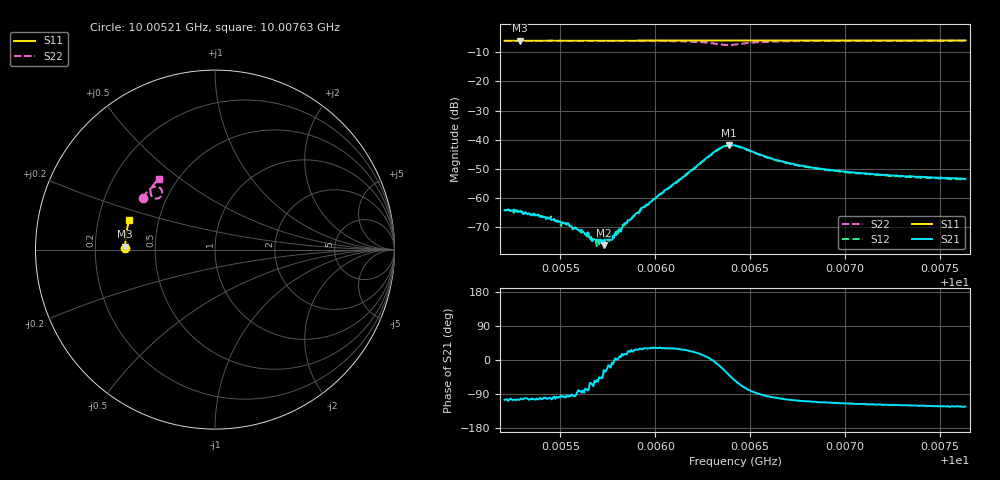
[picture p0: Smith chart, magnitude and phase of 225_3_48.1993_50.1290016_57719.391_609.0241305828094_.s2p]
#  HZ  S  RI  R  50.00
! Rohde & Schwarz Vector Network Analyzer
! Rohde-Schwarz,ZNB20-2Port,1311601062101988,3.16
! Created: UTC 3/20/2024, 11:46:07 AM
! freq[Hz]  re:S11  im:S11  re:S21  im:S21  re:S12  im:S12  re:S22  im:S22
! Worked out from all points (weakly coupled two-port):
!   401 points, 10.00521 GHz to 10.00763 GHz, reference 50 ohm
!   highest |S21| = -41.85 dB at 10.00639 GHz (marker M1); lowest = -76.2 dB at 10.00573 GHz (marker M2)
!   lowest |S11| = -6.0 dB at 10.00528 GHz (marker M3), VSWR 3.00, Z = 16.7 + j0.712 ohm
!   |S11| at or under -10 dB: nowhere
!   |S22| runs from -7.5 to -6.0 dB; largest |S21 - S12| = 0.00046
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1.0005206e10  -0.5001 0.0109  -0.000159 -0.000592  -0.000138 -0.000587  -0.4016 0.2901
1.0005284e10  -0.4999 0.016  -0.000152 -0.000556  -0.0001 -0.000555  -0.3987 0.2946
1.0005454e10  -0.4998 0.0271  -0.000101 -0.000407  -4.28e-05 -0.000416  -0.3916 0.3048
1.0005527e10  -0.4998 0.0319  -5.9e-05 -0.000366  -3.26e-05 -0.000361  -0.3882 0.3092
1.0005588e10  -0.4997 0.0359  2.41e-05 -0.00029  -1.26e-05 -0.000307  -0.3853 0.3129
1.0005612e10  -0.4994 0.0374  1.84e-05 -0.00028  2.83e-05 -0.000266  -0.3842 0.3145
1.0005667e10  -0.4994 0.0409  7.79e-05 -0.000163  7.61e-05 -0.000169  -0.3815 0.3177
1.0005679e10  -0.4993 0.0417  0.000111 -0.000159  0.000135 -0.000153  -0.3808 0.3185
1.0005697e10  -0.4992 0.0428  0.000112 -0.000174  0.000125 -0.000176  -0.3799 0.3197
1.0005715e10  -0.4993 0.0441  0.000117 -0.00012  0.000124 -0.000104  -0.3789 0.3209
1.0005728e10  -0.4991 0.0448  0.000139 -6.89e-05  0.00015 -8.24e-05  -0.3782 0.3216
1.0005782e10  -0.4989 0.0483  0.000207 -1.31e-05  0.000236 1.13e-05  -0.3751 0.3251
1.0005843e10  -0.4987 0.0522  0.000354 9.95e-05  0.000332 0.000149  -0.3714 0.3289
1.0006019e10  -0.4977 0.0638  0.000968 0.000591  0.000918 0.000606  -0.3575 0.341
1.000631e10  -0.495 0.0824  0.00617 -0.000475  0.00605 -0.000131  -0.2983 0.3333
1.0006353e10  -0.4944 0.0849  0.00696 -0.00281  0.00692 -0.00243  -0.2945 0.311
1.0006389e10  -0.4942 0.0871  0.00619 -0.0052  0.0063 -0.00477  -0.3056 0.2921
1.000642e10  -0.4941 0.0887  0.00463 -0.00646  0.00485 -0.0061  -0.3216 0.285
1.0006644e10  -0.4923 0.1031  -0.00081 -0.00435  -0.000573 -0.00431  -0.3591 0.3279
1.0006826e10  -0.4902 0.1149  -0.00113 -0.00311  -0.000988 -0.00311  -0.3512 0.3486
1.0007233e10  -0.4843 0.1404  -0.00116 -0.00215  -0.00104 -0.00217  -0.3301 0.3758
1.0007633e10  -0.4772 0.1654  -0.00115 -0.00179  -0.00103 -0.0018  -0.3097 0.3957
